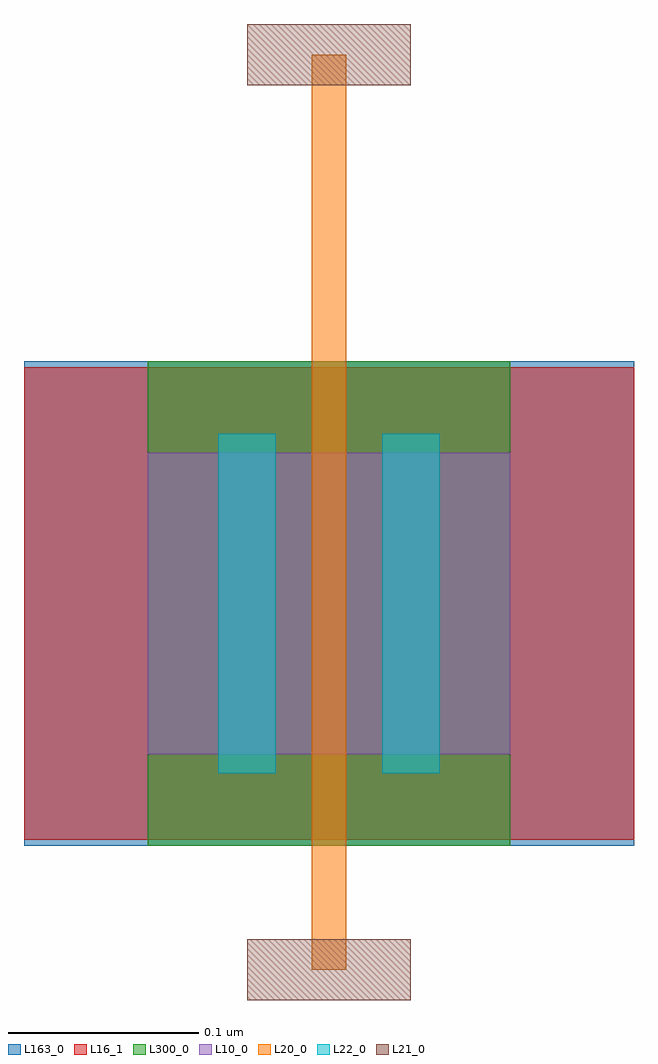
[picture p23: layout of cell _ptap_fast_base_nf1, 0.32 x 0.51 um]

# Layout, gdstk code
import gdstk
lib = gdstk.Library(unit=1e-6, precision=5e-10)
def R(c, l, rs):  # rectangles x0, y0, x1, y1
    for r in rs: c.add(gdstk.rectangle(r[:2], r[2:], *l))
L10_0 = (10, 0)
L16_1 = (16, 1)
L20_0 = (20, 0)
L21_0 = (21, 0)
L22_0 = (22, 0)
L163_0 = (163, 0)
L300_0 = (300, 0)

n1lvt_cdns_548863453661 = lib.new_cell('n1lvt_CDNS_548863453661')
R(n1lvt_cdns_548863453661, L10_0, [(-0.086,0,0,0.158), (0,0,0.018,0.158), (0.018,0,0.104,0.158)])
R(n1lvt_cdns_548863453661, L16_1, [(-0.151,-0.045,0.169,0.203)])
R(n1lvt_cdns_548863453661, L20_0, [(0,-0.048,0.018,0), (0,0,0.018,0.158), (0,0.158,0.018,0.206)])
R(n1lvt_cdns_548863453661, L22_0, [(-0.049,-0.01,-0.019,0.168), (0.037,-0.01,0.067,0.168)])
R(n1lvt_cdns_548863453661, L163_0, [(-0.151,-0.048,0.169,0.206)])
R(n1lvt_cdns_548863453661, L300_0, [(-0.086,-0.048,0.104,0.206)])
n1lvt_cdns_548863453661.add(gdstk.Label('0.158/0.018', (0.009,0.0365), layer=63, texttype=0))
n1lvt_cdns_548863453661.add(gdstk.Label('[@instanceName]', (0.009,0.066), layer=63, texttype=0))

c__ptap_fast_base_nf1 = lib.new_cell('_ptap_fast_base_nf1')
R(c__ptap_fast_base_nf1, L20_0, [(0.034,0,0.052,0.48)])
R(c__ptap_fast_base_nf1, L21_0, [(0,-0.016,0.086,0.016), (0,0.464,0.086,0.496)])
c__ptap_fast_base_nf1.add(gdstk.Reference(n1lvt_cdns_548863453661, (0.034,0.113)))

lib.write_gds('_ptap_fast_base_nf1.gds')
